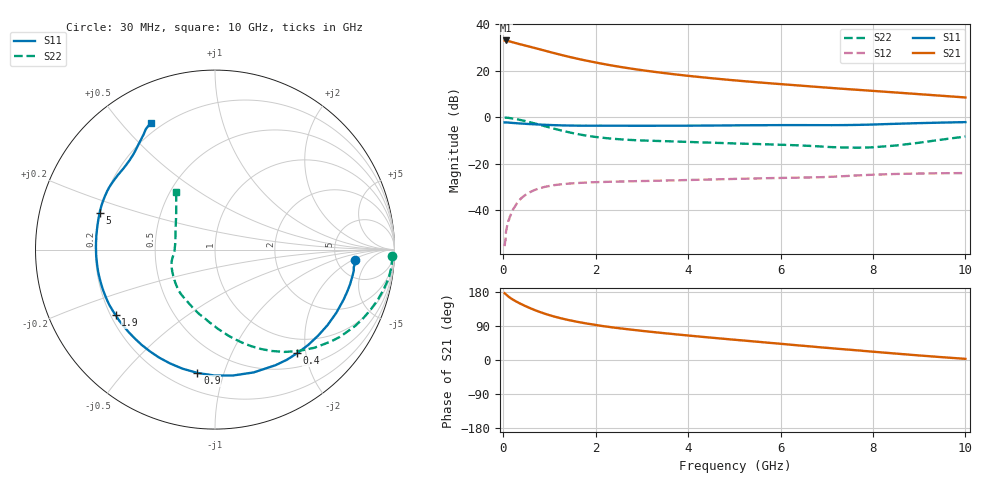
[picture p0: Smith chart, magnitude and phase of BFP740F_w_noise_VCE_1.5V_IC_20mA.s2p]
! Infineon Technologies  Discrete & RF Semiconductors
! BFP740F
! VCE =  1.5 V,  IC =  20 mA
! Common Emitter S-Parameters:  Oct 2012
# GHz  S  MA  R  50
!  f  S11  S21  S12  S22
! GHz  MAG  ANG  MAG  ANG  MAG  ANG  MAG  ANG
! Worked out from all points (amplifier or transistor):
!   99 points, 30 MHz to 10 GHz, reference 50 ohm
!   highest |S21| = 33.1 dB at 50 MHz (marker M1)
!   |S21| within 3 dB of that: start of sweep to 635.5 MHz
!   unconditionally stable (mu >= 1): 5.824 GHz to end of sweep
!   at 350 MHz: K = 0.14, MSG = 33.6 dB, |S12| = -35.6 dB
!   at 3.5 GHz: K = 0.69, MSG = 23.1 dB, |S12| = -27.2 dB
!   at 10 GHz: K = 1.23, MAG = 13.4 dB, |S12| = -23.9 dB
!   lowest NFmin = 0.64 dB at 450 MHz
!   S11 on the Smith chart (normalised r, x): 30 MHz: 7.47, -2.25; 400 MHz: 0.73, -1.84; 900 MHz: 0.31, -0.82; 1.9 GHz: 0.22, -0.29; 5 GHz: 0.20, +0.15; 10 GHz: 0.16, +0.60
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0.03  0.7818 -4.3  44.98 176.3  0.0017 104.8  0.9855 -2.1
0.05  0.7792 -7.3  45.26 174.2  0.0023 66.6  0.9878 -4.2
0.09  0.7777 -12.9  44.52 169.8  0.0049 83.2  0.9835 -7.9
0.13  0.7718 -18.5  43.34 165.9  0.0064 83.2  0.972 -11.5
0.2  0.762 -27.6  41.5 160.1  0.01 76.4  0.9489 -17.2
0.3  0.7482 -39.9  39.03 153.1  0.0144 71.2  0.9103 -24.8
0.4  0.7367 -51.7  36.81 146.9  0.0187 65.7  0.8676 -31.8
0.6  0.7174 -72.5  32.73 135.9  0.0253 55.9  0.7787 -44.6
0.7  0.7086 -81.8  30.82 130.9  0.028 51.8  0.7339 -50.3
0.9  0.694 -98.1  27.32 122.2  0.0321 44.9  0.6479 -60.7
1.1  0.6819 -111.6  24.21 114.8  0.0349 39.3  0.5726 -69.7
1.3  0.6729 -122.8  21.55 108.6  0.0368 35.3  0.5104 -77.6
1.5  0.6669 -132.0  19.33 103.3  0.0382 32.0  0.4609 -84.6
1.7  0.664 -139.9  17.46 98.6  0.0393 29.5  0.4218 -91.1
1.9  0.6636 -146.5  15.9 94.5  0.0402 27.6  0.3919 -97.3
2.5  0.6628 -161.7  12.36 84.0  0.0417 23.7  0.34 -113.1
3.4  0.6628 -177.2  9.211 71.8  0.0436 21.5  0.3104 -128.4
5  0.6745 162.4  6.277 53.5  0.0476 20.2  0.2759 -146.9
5.1  0.676 161.4  6.152 52.4  0.0478 20.0  0.2744 -148.2
6.7  0.6819 143.7  4.606 35.3  0.0513 19.8  0.2423 -168.6
8.5  0.7295 125.3  3.434 16.9  0.0608 17.4  0.2488 151.8
10  0.7922 116.9  2.687 3.0  0.0635 12.6  0.3885 123.9
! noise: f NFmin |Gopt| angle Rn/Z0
0.45  0.64  0.06  8  1.06
0.9  0.67  0.07  22  0.67
1.5  0.72  0.07  40  0.48
1.9  0.75  0.07  56  0.4
2.4  0.8  0.07  74  0.41
3.5  0.9  0.06  94  0.37
5.5  1.08  0.09  -158  0.31
10  1.47  0.39  -107  0.12
